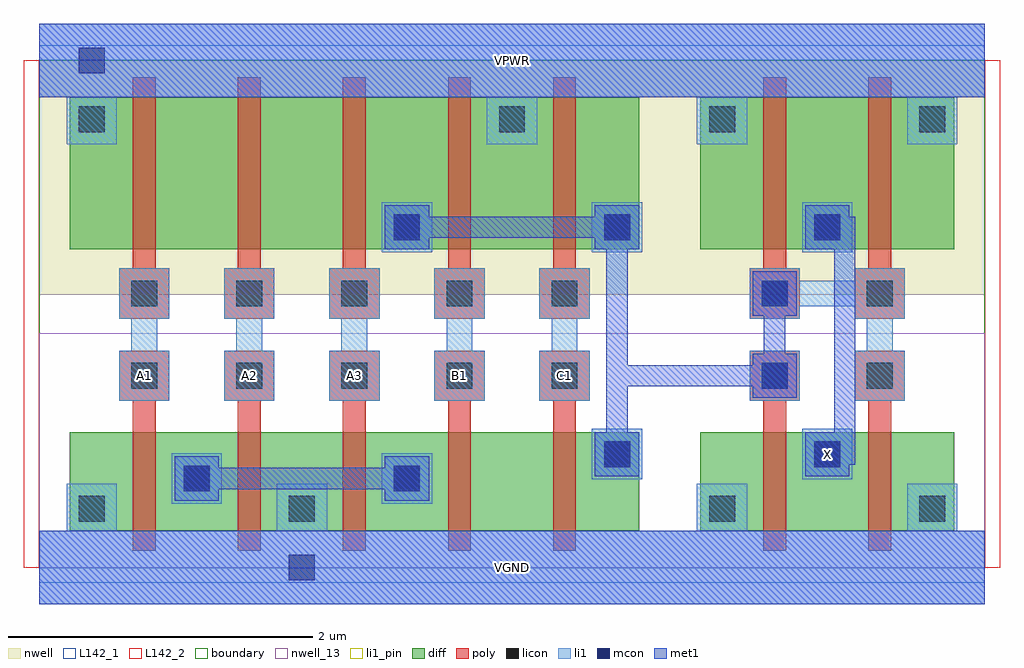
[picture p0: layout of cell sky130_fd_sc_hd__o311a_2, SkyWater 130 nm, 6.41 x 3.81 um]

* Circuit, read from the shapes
.subckt sky130_fd_sc_hd__o311a_2 A1 A2 A3 B1 C1 VGND VPWR X
XM1 n1 A1 VGND VSUBS sky130_fd_pr__nfet_01v8 w=0.65 l=0.15
XM2 VGND A2 n1 VSUBS sky130_fd_pr__nfet_01v8 w=0.65 l=0.15
XM3 n1 A3 VGND VSUBS sky130_fd_pr__nfet_01v8 w=0.65 l=0.15
XM4 n2 B1 n1 VSUBS sky130_fd_pr__nfet_01v8 w=0.65 l=0.15
XM5 n3 C1 n2 VSUBS sky130_fd_pr__nfet_01v8 w=0.65 l=0.15
XM6 X n3 VGND VSUBS sky130_fd_pr__nfet_01v8 w=0.65 l=0.15 m=2
XM7 n4 A1 VPWR n5 sky130_fd_pr__pfet_01v8 w=1 l=0.15
XM8 n6 A2 n4 n5 sky130_fd_pr__pfet_01v8 w=1 l=0.15
XM9 n3 A3 n6 n5 sky130_fd_pr__pfet_01v8 w=1 l=0.15
XM10 VPWR B1 n3 n5 sky130_fd_pr__pfet_01v8 w=1 l=0.15
XM11 n3 C1 VPWR n5 sky130_fd_pr__pfet_01v8 w=1 l=0.15
XM12 X n3 VPWR n5 sky130_fd_pr__pfet_01v8 w=1 l=0.15 m=2
.ends

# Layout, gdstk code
import gdstk
lib = gdstk.Library(unit=1e-6, precision=1e-09)
def R(c, l, rs):  # rectangles x0, y0, x1, y1
    for r in rs: c.add(gdstk.rectangle(r[:2], r[2:], *l))
def A(c, l, x, y, w, h, nx, ny, dx, dy):  # array of equal rectangles
    R(c, l, [(x+i*dx, y+j*dy, x+i*dx+w, y+j*dy+h) for i in range(nx) for j in range(ny)])
def P(c, l, *ps):  # polygons
    for p in ps: c.add(gdstk.Polygon(p, *l))
nwell_13 = (64, 13)
nwell = (64, 20)
diff = (65, 20)
poly = (66, 20)
licon = (66, 44)
li1_pin = (67, 16)
li1 = (67, 20)
mcon = (67, 44)
met1 = (68, 20)
L142_1 = (142, 1)
L142_2 = (142, 2)
boundary = (235, 4)

sky130_fd_sc_hd__o311a_2 = lib.new_cell('sky130_fd_sc_hd__o311a_2')
R(sky130_fd_sc_hd__o311a_2, nwell_13, [(0,0,6.21,1.54)])
R(sky130_fd_sc_hd__o311a_2, nwell, [(0,1.79,6.21,3.33)])
A(sky130_fd_sc_hd__o311a_2, diff, 0.615, 0.24, 0.69, 0.65, 4, 1, 0.69, 0)
A(sky130_fd_sc_hd__o311a_2, diff, 0.615, 2.09, 0.69, 1, 4, 1, 0.69, 0)
R(sky130_fd_sc_hd__o311a_2, diff, [(0.2,0.24,3.94,0.89), (0.2,0.24,0.615,0.89), (3.375,0.24,3.94,0.89), (4.34,0.24,6.01,0.89), (4.34,0.24,4.755,0.89), (4.755,0.24,5.445,0.89), (5.445,0.24,6.01,0.89), (0.2,2.09,3.94,3.09), (0.2,2.09,0.615,3.09), (3.375,2.09,3.94,3.09), (4.34,2.09,6.01,3.09), (4.34,2.09,4.755,3.09), (4.755,2.09,5.445,3.09), (5.445,2.09,6.01,3.09)])
P(sky130_fd_sc_hd__o311a_2, poly, [(4.755,0.11),(4.755,1.095),(4.665,1.095),(4.665,1.425),(4.995,1.425),(4.995,1.095),(4.905,1.095),(4.905,0.11)],
  [(5.445,0.11),(5.445,1.095),(5.355,1.095),(5.355,1.425),(5.685,1.425),(5.685,1.095),(5.595,1.095),(5.595,0.11)],
  [(4.665,1.635),(4.665,1.965),(4.755,1.965),(4.755,3.22),(4.905,3.22),(4.905,1.965),(4.995,1.965),(4.995,1.635)],
  [(5.355,1.635),(5.355,1.965),(5.445,1.965),(5.445,3.22),(5.595,3.22),(5.595,1.965),(5.685,1.965),(5.685,1.635)],
  [(1.305,0.11),(1.305,1.095),(1.215,1.095),(1.215,1.425),(1.545,1.425),(1.545,1.095),(1.455,1.095),(1.455,0.11)],
  [(1.215,1.635),(1.215,1.965),(1.305,1.965),(1.305,3.22),(1.455,3.22),(1.455,1.965),(1.545,1.965),(1.545,1.635)],
  [(0.615,0.11),(0.615,1.095),(0.525,1.095),(0.525,1.425),(0.855,1.425),(0.855,1.095),(0.765,1.095),(0.765,0.11)],
  [(0.525,1.635),(0.525,1.965),(0.615,1.965),(0.615,3.22),(0.765,3.22),(0.765,1.965),(0.855,1.965),(0.855,1.635)],
  [(1.995,0.11),(1.995,1.095),(1.905,1.095),(1.905,1.425),(2.235,1.425),(2.235,1.095),(2.145,1.095),(2.145,0.11)],
  [(1.905,1.635),(1.905,1.965),(1.995,1.965),(1.995,3.22),(2.145,3.22),(2.145,1.965),(2.235,1.965),(2.235,1.635)],
  [(3.375,0.11),(3.375,1.095),(3.285,1.095),(3.285,1.425),(3.615,1.425),(3.615,1.095),(3.525,1.095),(3.525,0.11)],
  [(3.285,1.635),(3.285,1.965),(3.375,1.965),(3.375,3.22),(3.525,3.22),(3.525,1.965),(3.615,1.965),(3.615,1.635)],
  [(2.685,0.11),(2.685,1.095),(2.595,1.095),(2.595,1.425),(2.925,1.425),(2.925,1.095),(2.835,1.095),(2.835,0.11)],
  [(2.595,1.635),(2.595,1.965),(2.685,1.965),(2.685,3.22),(2.835,3.22),(2.835,1.965),(2.925,1.965),(2.925,1.635)])
A(sky130_fd_sc_hd__o311a_2, licon, 0.605, 1.175, 0.17, 0.17, 5, 2, 0.69, 0.54)
A(sky130_fd_sc_hd__o311a_2, licon, 2.33, 2.15, 0.17, 0.17, 3, 1, 1.38, 0)
A(sky130_fd_sc_hd__o311a_2, licon, 3.02, 2.86, 0.17, 0.17, 3, 1, 1.38, 0)
R(sky130_fd_sc_hd__o311a_2, licon, [(0.26,0.3,0.43,0.47), (1.64,0.3,1.81,0.47), (4.4,0.3,4.57,0.47), (5.78,0.3,5.95,0.47), (0.95,0.5,1.12,0.67), (2.33,0.5,2.5,0.67), (3.71,0.66,3.88,0.83), (5.09,0.66,5.26,0.83), (4.745,1.175,4.915,1.345), (5.435,1.175,5.605,1.345), (4.745,1.715,4.915,1.885), (5.435,1.715,5.605,1.885), (0.26,2.86,0.43,3.03)])
R(sky130_fd_sc_hd__o311a_2, li1_pin, [(0,-0.24,6.21,0.24), (5.01,0.58,5.34,0.91), (0,3.09,6.21,3.57)])
P(sky130_fd_sc_hd__o311a_2, li1_pin, [(1.215,1.095),(1.215,1.425),(1.295,1.425),(1.295,1.635),(1.215,1.635),(1.215,1.965),(1.545,1.965),(1.545,1.635),(1.465,1.635),(1.465,1.425),(1.545,1.425),(1.545,1.095)],
  [(3.285,1.095),(3.285,1.425),(3.365,1.425),(3.365,1.635),(3.285,1.635),(3.285,1.965),(3.615,1.965),(3.615,1.635),(3.535,1.635),(3.535,1.425),(3.615,1.425),(3.615,1.095)],
  [(0.525,1.095),(0.525,1.425),(0.605,1.425),(0.605,1.635),(0.525,1.635),(0.525,1.965),(0.855,1.965),(0.855,1.635),(0.775,1.635),(0.775,1.425),(0.855,1.425),(0.855,1.095)],
  [(1.905,1.095),(1.905,1.425),(1.985,1.425),(1.985,1.635),(1.905,1.635),(1.905,1.965),(2.235,1.965),(2.235,1.635),(2.155,1.635),(2.155,1.425),(2.235,1.425),(2.235,1.095)],
  [(2.595,1.095),(2.595,1.425),(2.675,1.425),(2.675,1.635),(2.595,1.635),(2.595,1.965),(2.925,1.965),(2.925,1.635),(2.845,1.635),(2.845,1.425),(2.925,1.425),(2.925,1.095)])
A(sky130_fd_sc_hd__o311a_2, li1, 2.25, 2.07, 0.33, 0.33, 3, 1, 1.38, 0)
R(sky130_fd_sc_hd__o311a_2, li1, [(0.87,0.42,1.2,0.75), (2.25,0.42,2.58,0.75), (3.63,0.58,3.96,0.91), (5.01,0.58,5.34,0.91), (4.665,1.095,4.995,1.425)])
P(sky130_fd_sc_hd__o311a_2, li1, [(5.355,1.095),(5.355,1.425),(5.435,1.425),(5.435,1.635),(5.355,1.635),(5.355,1.715),(4.995,1.715),(4.995,1.635),(4.665,1.635),(4.665,1.965),(4.995,1.965),(4.995,1.885),(5.355,1.885),(5.355,1.965),(5.685,1.965),(5.685,1.635),(5.605,1.635),(5.605,1.425),(5.685,1.425),(5.685,1.095)],
  [(1.215,1.095),(1.215,1.425),(1.295,1.425),(1.295,1.635),(1.215,1.635),(1.215,1.965),(1.545,1.965),(1.545,1.635),(1.465,1.635),(1.465,1.425),(1.545,1.425),(1.545,1.095)],
  [(0.18,2.78),(0.18,3.09),(0,3.09),(0,3.57),(6.21,3.57),(6.21,3.09),(6.03,3.09),(6.03,2.78),(5.7,2.78),(5.7,3.09),(4.65,3.09),(4.65,2.78),(4.32,2.78),(4.32,3.09),(3.27,3.09),(3.27,2.78),(2.94,2.78),(2.94,3.09),(0.51,3.09),(0.51,2.78)],
  [(0.525,1.095),(0.525,1.425),(0.605,1.425),(0.605,1.635),(0.525,1.635),(0.525,1.965),(0.855,1.965),(0.855,1.635),(0.775,1.635),(0.775,1.425),(0.855,1.425),(0.855,1.095)],
  [(0,-0.24),(0,0.24),(0.18,0.24),(0.18,0.55),(0.51,0.55),(0.51,0.24),(1.56,0.24),(1.56,0.55),(1.89,0.55),(1.89,0.24),(4.32,0.24),(4.32,0.55),(4.65,0.55),(4.65,0.24),(5.7,0.24),(5.7,0.55),(6.03,0.55),(6.03,0.24),(6.21,0.24),(6.21,-0.24)],
  [(1.905,1.095),(1.905,1.425),(1.985,1.425),(1.985,1.635),(1.905,1.635),(1.905,1.965),(2.235,1.965),(2.235,1.635),(2.155,1.635),(2.155,1.425),(2.235,1.425),(2.235,1.095)],
  [(3.285,1.095),(3.285,1.425),(3.365,1.425),(3.365,1.635),(3.285,1.635),(3.285,1.965),(3.615,1.965),(3.615,1.635),(3.535,1.635),(3.535,1.425),(3.615,1.425),(3.615,1.095)],
  [(2.595,1.095),(2.595,1.425),(2.675,1.425),(2.675,1.635),(2.595,1.635),(2.595,1.965),(2.925,1.965),(2.925,1.635),(2.845,1.635),(2.845,1.425),(2.925,1.425),(2.925,1.095)])
A(sky130_fd_sc_hd__o311a_2, mcon, 2.33, 2.15, 0.17, 0.17, 3, 1, 1.38, 0)
R(sky130_fd_sc_hd__o311a_2, mcon, [(1.64,-0.085,1.81,0.085), (0.95,0.5,1.12,0.67), (2.33,0.5,2.5,0.67), (3.71,0.66,3.88,0.83), (5.09,0.66,5.26,0.83), (4.745,1.175,4.915,1.345), (4.745,1.715,4.915,1.885), (0.26,3.245,0.43,3.415)])
R(sky130_fd_sc_hd__o311a_2, met1, [(0,-0.24,6.21,0.24), (0,3.09,6.21,3.57)])
P(sky130_fd_sc_hd__o311a_2, met1, [(3.65,0.6),(3.65,0.89),(3.725,0.89),(3.725,2.09),(3.65,2.09),(3.65,2.165),(2.56,2.165),(2.56,2.09),(2.27,2.09),(2.27,2.38),(2.56,2.38),(2.56,2.305),(3.65,2.305),(3.65,2.38),(3.94,2.38),(3.94,2.09),(3.865,2.09),(3.865,1.33),(4.685,1.33),(4.685,1.405),(4.76,1.405),(4.76,1.655),(4.685,1.655),(4.685,1.945),(4.975,1.945),(4.975,1.655),(4.9,1.655),(4.9,1.405),(4.975,1.405),(4.975,1.115),(4.685,1.115),(4.685,1.19),(3.865,1.19),(3.865,0.89),(3.94,0.89),(3.94,0.6)],
  [(0.89,0.44),(0.89,0.73),(1.18,0.73),(1.18,0.655),(2.27,0.655),(2.27,0.73),(2.56,0.73),(2.56,0.44),(2.27,0.44),(2.27,0.515),(1.18,0.515),(1.18,0.44)],
  [(5.03,0.6),(5.03,0.89),(5.22,0.89),(5.22,2.09),(5.03,2.09),(5.03,2.38),(5.32,2.38),(5.32,2.305),(5.36,2.305),(5.36,0.675),(5.32,0.675),(5.32,0.6)])
R(sky130_fd_sc_hd__o311a_2, L142_1, [(0,-0.1,6.21,0), (0,3.33,6.21,3.43)])
R(sky130_fd_sc_hd__o311a_2, L142_2, [(-0.1,0,0,3.33), (6.21,0,6.31,3.33)])
R(sky130_fd_sc_hd__o311a_2, boundary, [(0,0,6.21,3.33)])
sky130_fd_sc_hd__o311a_2.add(gdstk.Label('X', (5.175,0.745), layer=67, texttype=5))
sky130_fd_sc_hd__o311a_2.add(gdstk.Label('A2', (1.38,1.26), layer=67, texttype=5))
sky130_fd_sc_hd__o311a_2.add(gdstk.Label('C1', (3.45,1.26), layer=67, texttype=5))
sky130_fd_sc_hd__o311a_2.add(gdstk.Label('A1', (0.69,1.26), layer=67, texttype=5))
sky130_fd_sc_hd__o311a_2.add(gdstk.Label('A3', (2.07,1.26), layer=67, texttype=5))
sky130_fd_sc_hd__o311a_2.add(gdstk.Label('B1', (2.76,1.26), layer=67, texttype=5))
sky130_fd_sc_hd__o311a_2.add(gdstk.Label('VGND', (3.105,0), layer=67, texttype=5))
sky130_fd_sc_hd__o311a_2.add(gdstk.Label('VPWR', (3.105,3.33), layer=67, texttype=5))
sky130_fd_sc_hd__o311a_2.add(gdstk.Label('VGND', (3.105,0), layer=68, texttype=5))
sky130_fd_sc_hd__o311a_2.add(gdstk.Label('VPWR', (3.105,3.33), layer=68, texttype=5))

lib.write_gds('sky130_fd_sc_hd__o311a_2.gds')
